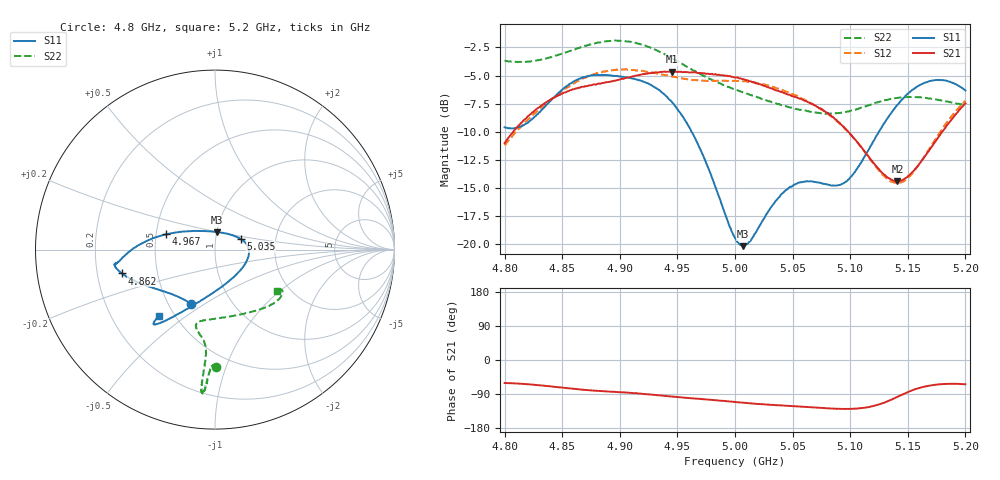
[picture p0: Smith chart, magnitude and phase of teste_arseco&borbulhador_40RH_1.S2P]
! Network Analyzer HP8722D
! Hewlett-Packard
! Data name: Linha & Wilkinson
! Saver's name: Rodrigo Anjos
! Comments: Teste da utilização de aquisição
! continua pelo VNA HP8722D
! Time and date: 15/4/2025 16:21
!  Frequency  S11  S21  S12  S22
# HZ  S  MA R 50
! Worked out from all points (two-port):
!   401 points, 4.8 GHz to 5.2 GHz, reference 50 ohm
!   highest |S21| = -4.65 dB at 4.945 GHz (marker M1); lowest = -14.4 dB at 5.141 GHz (marker M2)
!   |S21| within 3 dB of the highest: 4.832 GHz to 5.069 GHz (237 MHz wide, 4.79 % of centre); 5.198458 GHz to end of sweep
!   lowest |S11| = -20.2 dB at 5.007 GHz (marker M3), VSWR 1.22, Z = 50.1 + j9.86 ohm
!   |S11| at or under -10 dB: 4.962 GHz to 5.125 GHz (162.6 MHz wide, 3.22 % of centre)
!   |S22| runs from -8.4 to -1.9 dB; largest |S21 - S12| = 0.88
!   S11 on the Smith chart (normalised r, x): 4.8 GHz: 0.65, -0.44; 4.862 GHz: 0.31, -0.11; 4.967 GHz: 0.57, +0.10; 5.035 GHz: 1.32, +0.16; 5.2 GHz: 0.41, -0.40
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4.8e9  0.331 -113.8  0.2816 -60.7  0.2752 -175.0  0.6536 -89.5
4.819e9  0.3443 -133.6  0.3642 -63.7  0.3519 -173.3  0.648 -91.2
4.84e9  0.4344 -152.8  0.4399 -69.5  0.4389 -173.7  0.6778 -92.5
4.862e9  0.536 -165.6  0.4931 -76.5  0.5255 -176.5  0.7395 -93.5
4.867e9  0.5497 -167.6  0.5009 -78.2  0.5419 -177.4  0.7543 -93.7
4.898e9  0.5587 -172.0  0.5371 -84.5  0.5959 176.2  0.803 -95.0
4.934e9  0.4858 -178.0  0.5809 -93.3  0.5738 171.9  0.7197 -95.6
4.945e9  0.4297 176.9  0.5858 -96.4  0.5579 172.1  0.672 -95.3
4.967e9  0.2843 162.6  0.5781 -101.9  0.5357 173.8  0.5806 -94.9
5e9  0.1068 107.1  0.5507 -110.9  0.5339 176.4  0.4878 -99.2
5.007e9  0.09803 83.6  0.5421 -112.6  0.5299 176.4  0.473 -100.8
5.014e9  0.1045 61.3  0.5296 -114.6  0.5267 176.3  0.4605 -102.5
5.035e9  0.155 22.7  0.484 -119.1  0.4967 175.1  0.424 -104.0
5.05e9  0.1819 7.0  0.4549 -121.6  0.4652 174.5  0.403 -100.3
5.067e9  0.1903 -11.3  0.4198 -124.8  0.4213 174.0  0.3869 -91.8
5.086e9  0.1822 -41.8  0.3635 -128.3  0.3615 173.7  0.3818 -77.7
5.097e9  0.1905 -64.9  0.3214 -129.0  0.3208 174.6  0.3883 -68.6
5.134e9  0.373 -116.1  0.1958 -106.9  0.1924 -159.8  0.4416 -43.4
5.141e9  0.4167 -120.0  0.1906 -97.2  0.1872 -148.8  0.4473 -40.2
5.153e9  0.4815 -124.9  0.2065 -81.0  0.2038 -130.2  0.4516 -35.9
5.171e9  0.5334 -128.7  0.2725 -66.5  0.2772 -112.3  0.4425 -31.8
5.2e9  0.4827 -130.4  0.4225 -64.0  0.4343 -106.1  0.4151 -33.5
